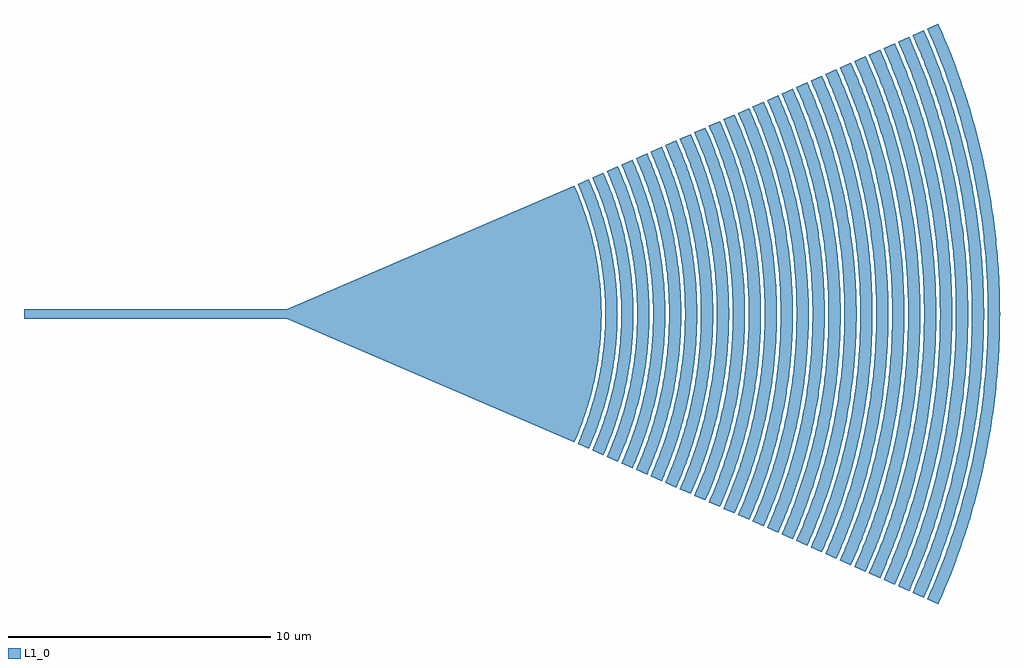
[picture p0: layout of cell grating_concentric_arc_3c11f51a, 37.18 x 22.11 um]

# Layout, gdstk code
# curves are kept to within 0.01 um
import gdstk
lib = gdstk.Library(unit=1e-6, precision=2e-09)
def R(c, l, rs):  # rectangles x0, y0, x1, y1
    for r in rs: c.add(gdstk.rectangle(r[:2], r[2:], *l))
def P(c, l, *ps):  # polygons
    for p in ps: c.add(gdstk.Polygon(p, *l))
L1_0 = (1, 0)

straight_3aa2beef = lib.new_cell('straight_3aa2beef')
R(straight_3aa2beef, L1_0, [(0,-0.174,10,0.174)])

ring_ee644f15_transform_ = lib.new_cell('ring_ee644f15_transform_b29eb2de')
P(ring_ee644f15_transform_, L1_0, [(11.094,-4.94),(11.364,-4.286),(11.506,-3.888),(11.694,-3.28),(11.85,-2.664),(11.936,-2.248),(12.046,-1.55),(12.116,-0.848),(12.138,-0.424),(12.144,0.212),(12.116,0.848),(12.046,1.55),(11.936,2.248),(11.802,2.87),(11.594,3.618),(11.364,4.286),(11.094,4.94),(11.518,5.128),(11.822,4.38),(12.078,3.616),(12.268,2.908),(12.39,2.334),(12.514,1.536),(12.572,0.952),(12.606,0.22),(12.594,-0.586),(12.514,-1.536),(12.39,-2.334),(12.178,-3.262),(11.944,-4.036),(11.744,-4.586),(11.518,-5.128)])

ring_8d2e8a80_transform_ = lib.new_cell('ring_8d2e8a80_transform_420c5e7a')
P(ring_8d2e8a80_transform_, L1_0, [(11.65,-5.186),(11.852,-4.708),(12.082,-4.082),(12.238,-3.586),(12.426,-2.868),(12.546,-2.288),(12.648,-1.628),(12.704,-1.112),(12.742,-0.52),(12.752,0.148),(12.716,0.964),(12.648,1.628),(12.546,2.288),(12.374,3.084),(12.216,3.658),(11.958,4.432),(11.65,5.186),(12.072,5.374),(12.364,4.664),(12.568,4.084),(12.784,3.346),(12.972,2.522),(13.116,1.61),(13.188,0.846),(13.214,0.154),(13.204,-0.538),(13.134,-1.458),(13.064,-1.992),(12.972,-2.522),(12.784,-3.346),(12.52,-4.23),(12.308,-4.808),(12.072,-5.374)])

ring_efbb2843_transform_ = lib.new_cell('ring_efbb2843_transform_7ceeab4c')
P(ring_efbb2843_transform_, L1_0, [(12.204,-5.434),(12.472,-4.788),(12.706,-4.128),(12.884,-3.532),(13.034,-2.93),(13.17,-2.244),(13.26,-1.628),(13.332,-0.854),(13.354,-0.388),(13.354,0.388),(13.302,1.242),(13.23,1.86),(13.084,2.702),(12.944,3.308),(12.73,4.054),(12.472,4.788),(12.204,5.434),(12.626,5.622),(12.904,4.954),(13.194,4.118),(13.392,3.422),(13.568,2.638),(13.698,1.844),(13.776,1.124),(13.82,0.242),(13.81,-0.562),(13.746,-1.444),(13.598,-2.48),(13.392,-3.422),(13.12,-4.348),(12.904,-4.954),(12.626,-5.622)])

ring_c1eecfd4_transform_ = lib.new_cell('ring_c1eecfd4_transform_eecb2221')
P(ring_c1eecfd4_transform_, L1_0, [(12.758,-5.68),(13.01,-5.08),(13.232,-4.47),(13.426,-3.85),(13.59,-3.22),(13.74,-2.506),(13.842,-1.864),(13.914,-1.218),(13.958,-0.488),(13.958,0.488),(13.914,1.218),(13.842,1.864),(13.71,2.664),(13.532,3.458),(13.308,4.238),(13.068,4.93),(12.758,5.68),(13.18,5.868),(13.53,5.014),(13.774,4.298),(13.98,3.572),(14.164,2.754),(14.3,1.924),(14.388,1.09),(14.428,0.168),(14.42,-0.504),(14.35,-1.508),(14.21,-2.506),(14.04,-3.328),(13.774,-4.298),(13.53,-5.014),(13.18,-5.868)])

ring_4396ebcb_transform_ = lib.new_cell('ring_4396ebcb_transform_71cfa478')
P(ring_4396ebcb_transform_, L1_0, [(13.314,-5.928),(13.606,-5.222),(13.834,-4.584),(14.032,-3.936),(14.2,-3.278),(14.322,-2.698),(14.454,-1.86),(14.532,-1.102),(14.568,-0.424),(14.568,0.424),(14.518,1.27),(14.42,2.112),(14.29,2.864),(14.12,3.608),(13.912,4.342),(13.636,5.144),(13.314,5.928),(13.736,6.116),(14.006,5.47),(14.3,4.646),(14.568,3.722),(14.76,2.868),(14.902,2.006),(14.986,1.224),(15.03,0.438),(15.03,-0.438),(14.954,-1.572),(14.808,-2.61),(14.61,-3.552),(14.352,-4.48),(14.068,-5.306),(13.736,-6.116)])

ring_17ea1181_transform_ = lib.new_cell('ring_17ea1181_transform_ed8faf29')
P(ring_17ea1181_transform_, L1_0, [(13.868,-6.174),(14.108,-5.604),(14.354,-4.942),(14.568,-4.27),(14.792,-3.414),(14.95,-2.636),(15.068,-1.85),(15.13,-1.236),(15.172,-0.53),(15.172,0.53),(15.13,1.236),(15.044,2.026),(14.902,2.896),(14.73,3.672),(14.518,4.438),(14.204,5.358),(13.868,6.174),(14.29,6.362),(14.668,5.436),(14.96,4.574),(15.2,3.696),(15.356,2.984),(15.478,2.268),(15.584,1.364),(15.634,0.546),(15.634,-0.546),(15.598,-1.182),(15.548,-1.726),(15.436,-2.536),(15.242,-3.518),(14.96,-4.574),(14.668,-5.436),(14.29,-6.362)])

ring_5ab3006c_transform_ = lib.new_cell('ring_5ab3006c_transform_5850954d')
P(ring_5ab3006c_transform_, L1_0, [(14.422,-6.422),(14.706,-5.744),(14.986,-4.966),(15.226,-4.174),(15.404,-3.462),(15.564,-2.65),(15.67,-1.924),(15.736,-1.284),(15.784,-0.368),(15.778,0.55),(15.72,1.468),(15.608,2.378),(15.462,3.192),(15.25,4.086),(14.986,4.966),(14.706,5.744),(14.422,6.422),(14.844,6.61),(15.238,5.646),(15.484,4.932),(15.744,4.022),(15.952,3.1),(16.092,2.262),(16.204,1.228),(16.248,0.284),(16.24,-0.568),(16.18,-1.51),(16.034,-2.636),(15.834,-3.656),(15.672,-4.296),(15.512,-4.842),(15.238,-5.646),(14.844,-6.61)])

ring_4e011d53_transform_ = lib.new_cell('ring_4e011d53_transform_7f5c3024')
P(ring_4e011d53_transform_, L1_0, [(14.978,-6.668),(15.272,-5.964),(15.532,-5.248),(15.786,-4.428),(15.996,-3.594),(16.146,-2.846),(16.284,-1.904),(16.348,-1.238),(16.388,-0.476),(16.388,0.476),(16.348,1.238),(16.248,2.188),(16.094,3.128),(15.908,3.966),(15.622,4.976),(15.306,5.876),(14.978,6.668),(15.4,6.856),(15.772,5.95),(16.092,5.022),(16.332,4.174),(16.548,3.216),(16.65,2.636),(16.732,2.054),(16.816,1.176),(16.85,0.49),(16.85,-0.49),(16.784,-1.566),(16.732,-2.054),(16.618,-2.83),(16.38,-3.982),(16.092,-5.022),(15.772,-5.95),(15.4,-6.856)])

ring_b1c37d91_transform_ = lib.new_cell('ring_b1c37d91_transform_f02af425')
P(ring_b1c37d91_transform_, L1_0, [(15.532,-6.916),(15.836,-6.186),(16.108,-5.442),(16.316,-4.782),(16.544,-3.92),(16.726,-3.05),(16.85,-2.268),(16.946,-1.384),(16.992,-0.594),(17,0.296),(16.946,1.384),(16.85,2.268),(16.69,3.244),(16.496,4.114),(16.23,5.066),(15.908,6),(15.532,6.916),(15.954,7.104),(16.268,6.354),(16.61,5.396),(16.92,4.324),(17.124,3.432),(17.28,2.532),(17.398,1.522),(17.46,0.406),(17.454,-0.61),(17.422,-1.218),(17.358,-1.926),(17.216,-2.932),(16.994,-4.028),(16.73,-5.008),(16.376,-6.068),(15.954,-7.104)])

ring_f37eb58f_transform_ = lib.new_cell('ring_f37eb58f_transform_8895bb0e')
P(ring_f37eb58f_transform_, L1_0, [(16.086,-7.162),(16.44,-6.31),(16.65,-5.732),(16.898,-4.952),(17.158,-3.962),(17.324,-3.158),(17.452,-2.35),(17.542,-1.534),(17.602,-0.512),(17.602,0.512),(17.542,1.534),(17.438,2.45),(17.286,3.36),(17.086,4.26),(16.81,5.246),(16.44,6.31),(16.086,7.162),(16.508,7.35),(16.756,6.77),(17.154,5.684),(17.456,4.678),(17.698,3.654),(17.896,2.514),(18.002,1.574),(18.064,0.526),(18.064,-0.526),(18.02,-1.366),(17.972,-1.888),(17.832,-2.93),(17.608,-4.066),(17.456,-4.678),(17.282,-5.284),(16.908,-6.378),(16.508,-7.35)])

ring_ecfd1846_transform_ = lib.new_cell('ring_ecfd1846_transform_7d858c2e')
P(ring_ecfd1846_transform_, L1_0, [(16.64,-7.41),(16.968,-6.626),(17.292,-5.73),(17.596,-4.714),(17.796,-3.89),(17.94,-3.164),(18.08,-2.22),(18.156,-1.482),(18.208,-0.53),(18.208,0.53),(18.156,1.482),(18.024,2.64),(17.882,3.476),(17.648,4.51),(17.388,5.428),(17.044,6.428),(16.64,7.41),(17.064,7.598),(17.438,6.694),(17.798,5.668),(18.124,4.518),(18.356,3.458),(18.512,2.492),(18.616,1.52),(18.676,0.326),(18.67,-0.544),(18.598,-1.736),(18.448,-2.922),(18.356,-3.458),(18.2,-4.202),(17.894,-5.356),(17.552,-6.388),(17.318,-6.996),(17.064,-7.598)])

ring_b95cc9eb_transform_ = lib.new_cell('ring_b95cc9eb_transform_27bbc9c2')
P(ring_b95cc9eb_transform_, L1_0, [(17.196,-7.656),(17.534,-6.848),(17.868,-5.92),(18.124,-5.082),(18.364,-4.128),(18.556,-3.16),(18.696,-2.186),(18.778,-1.314),(18.818,-0.438),(18.812,0.656),(18.752,1.64),(18.64,2.62),(18.478,3.592),(18.21,4.766),(17.936,5.712),(17.612,6.644),(17.196,7.656),(17.618,7.844),(18.004,6.912),(18.342,5.96),(18.628,4.992),(18.766,4.448),(18.91,3.79),(19.098,2.684),(19.222,1.57),(19.28,0.448),(19.274,-0.674),(19.246,-1.234),(19.18,-2.016),(19.012,-3.238),(18.91,-3.79),(18.766,-4.448),(18.474,-5.532),(18.342,-5.96),(18.084,-6.702),(17.618,-7.844)])

ring_0ec46333_transform_ = lib.new_cell('ring_0ec46333_transform_ca98ca96')
P(ring_0ec46333_transform_, L1_0, [(17.75,-7.902),(18.14,-6.964),(18.444,-6.112),(18.678,-5.356),(18.958,-4.26),(19.154,-3.262),(19.272,-2.48),(19.366,-1.58),(19.422,-0.566),(19.422,0.566),(19.366,1.58),(19.272,2.48),(19.154,3.262),(19.052,3.818),(18.826,4.81),(18.514,5.896),(18.14,6.964),(17.75,7.902),(18.172,8.09),(18.53,7.236),(18.918,6.148),(19.244,5.036),(19.482,4.022),(19.666,2.998),(19.758,2.31),(19.816,1.734),(19.884,0.578),(19.884,-0.578),(19.852,-1.272),(19.806,-1.848),(19.73,-2.54),(19.648,-3.112),(19.434,-4.248),(19.302,-4.812),(19.09,-5.594),(18.692,-6.804),(18.444,-7.452),(18.172,-8.09)])

ring_8755d48d_transform_ = lib.new_cell('ring_8755d48d_transform_93609165')
P(ring_8755d48d_transform_, L1_0, [(18.304,-8.15),(18.622,-7.398),(18.984,-6.414),(19.324,-5.298),(19.55,-4.394),(19.712,-3.594),(19.874,-2.558),(19.98,-1.514),(20.032,-0.466),(20.036,0.234),(20.016,0.932),(19.94,1.978),(19.826,2.904),(19.624,4.052),(19.414,4.96),(19.128,5.97),(18.748,7.072),(18.304,8.15),(18.726,8.338),(19.138,7.346),(19.532,6.222),(19.832,5.19),(20.1,4.028),(20.3,2.852),(20.422,1.786),(20.472,1.072),(20.494,0.476),(20.494,-0.476),(20.472,-1.072),(20.422,-1.786),(20.266,-3.088),(20.052,-4.262),(19.862,-5.074),(19.706,-5.65),(19.496,-6.334),(19.222,-7.124),(18.962,-7.79),(18.726,-8.338)])

ring_cdfe68d0_transform_ = lib.new_cell('ring_cdfe68d0_transform_27475b25')
P(ring_cdfe68d0_transform_, L1_0, [(18.86,-8.396),(19.186,-7.622),(19.52,-6.722),(19.878,-5.574),(20.116,-4.644),(20.31,-3.704),(20.476,-2.636),(20.586,-1.56),(20.636,-0.6),(20.636,0.6),(20.566,1.8),(20.444,2.874),(20.242,4.056),(19.972,5.226),(19.634,6.38),(19.316,7.286),(18.86,8.396),(19.282,8.584),(19.524,8.02),(19.792,7.334),(20.148,6.288),(20.45,5.226),(20.718,4.028),(20.918,2.816),(21.036,1.718),(21.098,0.614),(21.098,-0.614),(21.064,-1.35),(21.004,-2.084),(20.866,-3.18),(20.646,-4.388),(20.356,-5.582),(20.148,-6.288),(19.876,-7.104),(19.616,-7.792),(19.282,-8.584)])

ring_6f7025b2_transform_ = lib.new_cell('ring_6f7025b2_transform_f9c1e338')
P(ring_6f7025b2_transform_, L1_0, [(19.414,-8.644),(19.796,-7.732),(20.134,-6.802),(20.462,-5.738),(20.734,-4.66),(20.95,-3.568),(21.108,-2.468),(21.2,-1.482),(21.246,-0.494),(21.25,0.248),(21.234,0.866),(21.16,1.976),(21.078,2.712),(20.99,3.324),(20.812,4.298),(20.528,5.5),(20.212,6.566),(19.796,7.732),(19.414,8.644),(19.836,8.832),(20.272,7.782),(20.69,6.59),(21.038,5.376),(21.29,4.268),(21.466,3.272),(21.62,2.018),(21.696,0.884),(21.714,0.126),(21.708,-0.506),(21.684,-1.136),(21.62,-2.018),(21.466,-3.272),(21.362,-3.894),(21.212,-4.638),(21.038,-5.376),(20.872,-5.986),(20.69,-6.59),(20.404,-7.426),(20.18,-8.016),(19.836,-8.832)])

ring_288faacc_transform_ = lib.new_cell('ring_288faacc_transform_b14bf65e')
P(ring_288faacc_transform_, L1_0, [(19.968,-8.89),(20.314,-8.07),(20.668,-7.116),(21.012,-6.024),(21.298,-4.918),(21.504,-3.92),(21.68,-2.79),(21.776,-1.906),(21.85,-0.636),(21.85,0.636),(21.776,1.906),(21.628,3.168),(21.432,4.296),(21.178,5.412),(20.828,6.634),(20.452,7.714),(19.968,8.89),(20.39,9.078),(20.792,8.12),(21.062,7.39),(21.268,6.774),(21.594,5.652),(21.886,4.386),(22.104,3.106),(22.236,1.946),(22.312,0.65),(22.312,-0.65),(22.236,-1.946),(22.17,-2.592),(22.066,-3.364),(21.982,-3.876),(21.806,-4.768),(21.492,-6.028),(21.228,-6.898),(20.93,-7.756),(20.696,-8.362),(20.39,-9.078)])

ring_bebd088f_transform_ = lib.new_cell('ring_bebd088f_transform_25863f3f')
P(ring_bebd088f_transform_, L1_0, [(20.524,-9.138),(20.974,-8.05),(21.326,-7.066),(21.596,-6.192),(21.89,-5.054),(22.102,-4.03),(22.282,-2.868),(22.402,-1.698),(22.46,-0.522),(22.452,0.784),(22.38,1.958),(22.314,2.608),(22.228,3.256),(22.028,4.414),(21.734,5.688),(21.446,6.694),(21.242,7.314),(20.974,8.05),(20.524,9.138),(20.946,9.326),(21.452,8.092),(21.806,7.086),(22.18,5.806),(22.454,4.636),(22.58,3.982),(22.686,3.322),(22.828,2.132),(22.914,0.8),(22.928,0.134),(22.922,-0.534),(22.852,-1.866),(22.788,-2.53),(22.686,-3.322),(22.58,-3.982),(22.454,-4.636),(22.31,-5.288),(22.076,-6.192),(21.806,-7.086),(21.59,-7.716),(21.308,-8.466),(20.946,-9.326)])

ring_c0c63cb6_transform_ = lib.new_cell('ring_c0c63cb6_transform_02ebcf54')
P(ring_c0c63cb6_transform_, L1_0, [(21.078,-9.384),(21.492,-8.394),(21.902,-7.258),(22.252,-6.102),(22.482,-5.19),(22.722,-4.006),(22.884,-2.946),(22.996,-1.878),(23.048,-1.074),(23.066,-0.536),(23.072,0.134),(23.054,0.94),(22.96,2.278),(22.81,3.476),(22.596,4.666),(22.42,5.452),(22.252,6.102),(21.944,7.13),(21.492,8.394),(21.078,9.384),(21.5,9.572),(21.972,8.434),(22.208,7.792),(22.466,7.012),(22.836,5.694),(23.076,4.624),(23.178,4.086),(23.306,3.276),(23.446,2.052),(23.516,0.958),(23.532,-0.41),(23.468,-1.778),(23.392,-2.596),(23.306,-3.276),(23.178,-4.086),(23.02,-4.894),(22.836,-5.694),(22.66,-6.356),(22.466,-7.012),(22.116,-8.05),(21.77,-8.944),(21.5,-9.572)])

ring_f4539946_transform_ = lib.new_cell('ring_f4539946_transform_3ba1e1a3')
P(ring_f4539946_transform_, L1_0, [(21.632,-9.632),(22.058,-8.614),(22.478,-7.448),(22.8,-6.394),(23.104,-5.192),(23.344,-3.976),(23.504,-2.886),(23.612,-1.79),(23.674,-0.55),(23.666,0.826),(23.578,2.202),(23.45,3.296),(23.344,3.976),(23.218,4.654),(23.104,5.192),(22.908,5.996),(22.724,6.66),(22.52,7.318),(22.058,8.614),(21.632,9.632),(22.054,9.82),(22.538,8.652),(23.004,7.326),(23.356,6.112),(23.524,5.43),(23.672,4.744),(23.866,3.638),(23.962,2.942),(24.038,2.244),(24.128,0.842),(24.136,-0.562),(24.062,-1.964),(24.01,-2.524),(23.906,-3.36),(23.776,-4.192),(23.644,-4.882),(23.492,-5.568),(23.32,-6.248),(23.046,-7.192),(22.734,-8.124),(22.384,-9.044),(22.054,-9.82)])

ring_79ef08d5_transform_ = lib.new_cell('ring_79ef08d5_transform_3b98e8a8')
P(ring_79ef08d5_transform_, L1_0, [(22.186,-9.878),(22.674,-8.704),(23.01,-7.774),(23.346,-6.694),(23.496,-6.15),(23.696,-5.326),(23.918,-4.218),(24.106,-2.96),(24.218,-1.836),(24.28,-0.566),(24.286,0.282),(24.272,0.848),(24.182,2.258),(24.106,2.96),(24.01,3.66),(23.814,4.772),(23.496,6.15),(23.142,7.37),(22.918,8.04),(22.674,8.704),(22.186,9.878),(22.61,10.066),(23.106,8.87),(23.538,7.648),(23.906,6.406),(24.082,5.708),(24.238,5.004),(24.348,4.44),(24.488,3.586),(24.642,2.3),(24.734,0.864),(24.746,-0.432),(24.722,-1.152),(24.678,-1.87),(24.614,-2.586),(24.528,-3.302),(24.398,-4.156),(24.238,-5.004),(24.082,-5.708),(23.906,-6.406),(23.668,-7.236),(23.306,-8.33),(23.054,-9.004),(22.61,-10.066)])

ring_46a50844_transform_ = lib.new_cell('ring_46a50844_transform_b821fbdd')
P(ring_46a50844_transform_, L1_0, [(22.742,-10.126),(23.24,-8.922),(23.676,-7.692),(24.046,-6.442),(24.32,-5.318),(24.564,-4.038),(24.726,-2.89),(24.834,-1.736),(24.888,-0.58),(24.884,0.724),(24.852,1.448),(24.8,2.17),(24.726,2.89),(24.61,3.752),(24.38,5.034),(24.046,6.442),(23.676,7.692),(23.24,8.922),(22.742,10.126),(23.164,10.314),(23.672,9.086),(23.926,8.394),(24.16,7.694),(24.53,6.42),(24.706,5.704),(24.862,4.982),(24.996,4.258),(25.11,3.528),(25.26,2.21),(25.314,1.474),(25.346,0.738),(25.35,-0.59),(25.314,-1.474),(25.26,-2.21),(25.11,-3.528),(24.996,-4.258),(24.832,-5.128),(24.638,-5.99),(24.454,-6.704),(24.16,-7.694),(23.876,-8.534),(23.51,-9.498),(23.164,-10.314)])

ring_fcc5368c_transform_ = lib.new_cell('ring_fcc5368c_transform_caed7b98')
P(ring_fcc5368c_transform_, L1_0, [(23.296,-10.372),(23.754,-9.278),(24.16,-8.162),(24.554,-6.886),(24.848,-5.736),(25.088,-4.574),(25.292,-3.254),(25.428,-1.926),(25.494,-0.594),(25.5,0.296),(25.486,0.89),(25.404,2.222),(25.346,2.814),(25.232,3.696),(25.004,5.012),(24.708,6.314),(24.472,7.172),(24.298,7.738),(24.112,8.302),(23.808,9.138),(23.296,10.372),(23.718,10.56),(24.184,9.446),(24.646,8.166),(24.916,7.302),(25.118,6.574),(25.396,5.398),(25.644,4.062),(25.77,3.164),(25.836,2.564),(25.9,1.812),(25.942,1.058),(25.962,0.302),(25.96,-0.454),(25.9,-1.812),(25.836,-2.564),(25.71,-3.614),(25.486,-4.954),(25.332,-5.694),(25.118,-6.574),(24.784,-7.736),(24.498,-8.596),(24.184,-9.446),(23.718,-10.56)])

ring_74791abf_transform_ = lib.new_cell('ring_74791abf_transform_ce7b0cd1')
P(ring_74791abf_transform_, L1_0, [(23.85,-10.62),(24.32,-9.498),(24.534,-8.93),(24.83,-8.068),(25.218,-6.758),(25.506,-5.576),(25.738,-4.384),(25.932,-3.03),(26.034,-1.972),(26.08,-1.214),(26.104,-0.456),(26.104,0.456),(26.08,1.214),(25.98,2.578),(25.81,3.934),(25.712,4.534),(25.538,5.428),(25.258,6.61),(25.012,7.488),(24.83,8.068),(24.636,8.644),(24.32,9.498),(23.85,10.62),(24.274,10.808),(24.806,9.522),(25.072,8.796),(25.318,8.064),(25.584,7.176),(25.744,6.578),(26.022,5.372),(26.14,4.766),(26.29,3.85),(26.456,2.47),(26.526,1.544),(26.554,0.928),(26.566,-0.464),(26.542,-1.236),(26.47,-2.316),(26.312,-3.698),(26.14,-4.766),(26.022,-5.372),(25.704,-6.728),(25.41,-7.768),(25.072,-8.796),(24.636,-9.954),(24.274,-10.808)])

ring_4bb7ec42_transform_ = lib.new_cell('ring_4bb7ec42_transform_359b2e66')
P(ring_4bb7ec42_transform_, L1_0, [(24.406,-10.866),(24.828,-9.864),(25.104,-9.138),(25.36,-8.404),(25.764,-7.064),(26.03,-6.01),(26.31,-4.64),(26.516,-3.256),(26.65,-1.864),(26.708,-0.622),(26.704,0.776),(26.67,1.554),(26.6,2.484),(26.516,3.256),(26.41,4.026),(26.164,5.402),(25.884,6.614),(25.68,7.364),(25.456,8.108),(24.996,9.428),(24.712,10.152),(24.406,10.866),(24.828,11.054),(25.372,9.74),(25.644,8.998),(25.896,8.248),(26.124,7.492),(26.332,6.728),(26.648,5.34),(26.89,3.938),(27.06,2.526),(27.148,1.264),(27.174,0.474),(27.174,-0.474),(27.148,-1.264),(27.088,-2.212),(26.934,-3.626),(26.792,-4.564),(26.648,-5.34),(26.516,-5.96),(26.252,-7.034),(25.944,-8.096),(25.592,-9.146),(25.258,-10.034),(24.828,-11.054)])

grating_concentric_arc_3 = lib.new_cell('grating_concentric_arc_3c11f51a')
P(grating_concentric_arc_3, L1_0, [(0,0.174),(0,-0.174),(10.962,-4.882),(11.006,-4.786),(11.24,-4.202),(11.476,-3.508),(11.644,-2.902),(11.78,-2.29),(11.868,-1.774),(11.954,-1.046),(11.99,-0.524),(12,0.104),(11.99,0.524),(11.934,1.254),(11.836,1.98),(11.738,2.496),(11.564,3.206),(11.38,3.808),(11.126,4.496),(10.962,4.882)])
grating_concentric_arc_3.add(gdstk.Reference(straight_3aa2beef, (-10,0)))
grating_concentric_arc_3.add(gdstk.Reference(ring_ee644f15_transform_, (0,0)))
grating_concentric_arc_3.add(gdstk.Reference(ring_8d2e8a80_transform_, (0,0)))
grating_concentric_arc_3.add(gdstk.Reference(ring_efbb2843_transform_, (0,0)))
grating_concentric_arc_3.add(gdstk.Reference(ring_c1eecfd4_transform_, (0,0)))
grating_concentric_arc_3.add(gdstk.Reference(ring_4396ebcb_transform_, (0,0)))
grating_concentric_arc_3.add(gdstk.Reference(ring_17ea1181_transform_, (0,0)))
grating_concentric_arc_3.add(gdstk.Reference(ring_5ab3006c_transform_, (0,0)))
grating_concentric_arc_3.add(gdstk.Reference(ring_4e011d53_transform_, (0,0)))
grating_concentric_arc_3.add(gdstk.Reference(ring_b1c37d91_transform_, (0,0)))
grating_concentric_arc_3.add(gdstk.Reference(ring_f37eb58f_transform_, (0,0)))
grating_concentric_arc_3.add(gdstk.Reference(ring_ecfd1846_transform_, (0,0)))
grating_concentric_arc_3.add(gdstk.Reference(ring_b95cc9eb_transform_, (0,0)))
grating_concentric_arc_3.add(gdstk.Reference(ring_0ec46333_transform_, (0,0)))
grating_concentric_arc_3.add(gdstk.Reference(ring_8755d48d_transform_, (0,0)))
grating_concentric_arc_3.add(gdstk.Reference(ring_cdfe68d0_transform_, (0,0)))
grating_concentric_arc_3.add(gdstk.Reference(ring_6f7025b2_transform_, (0,0)))
grating_concentric_arc_3.add(gdstk.Reference(ring_288faacc_transform_, (0,0)))
grating_concentric_arc_3.add(gdstk.Reference(ring_bebd088f_transform_, (0,0)))
grating_concentric_arc_3.add(gdstk.Reference(ring_c0c63cb6_transform_, (0,0)))
grating_concentric_arc_3.add(gdstk.Reference(ring_f4539946_transform_, (0,0)))
grating_concentric_arc_3.add(gdstk.Reference(ring_79ef08d5_transform_, (0,0)))
grating_concentric_arc_3.add(gdstk.Reference(ring_46a50844_transform_, (0,0)))
grating_concentric_arc_3.add(gdstk.Reference(ring_fcc5368c_transform_, (0,0)))
grating_concentric_arc_3.add(gdstk.Reference(ring_74791abf_transform_, (0,0)))
grating_concentric_arc_3.add(gdstk.Reference(ring_4bb7ec42_transform_, (0,0)))

lib.write_gds('grating_concentric_arc_3c11f51a.gds')
